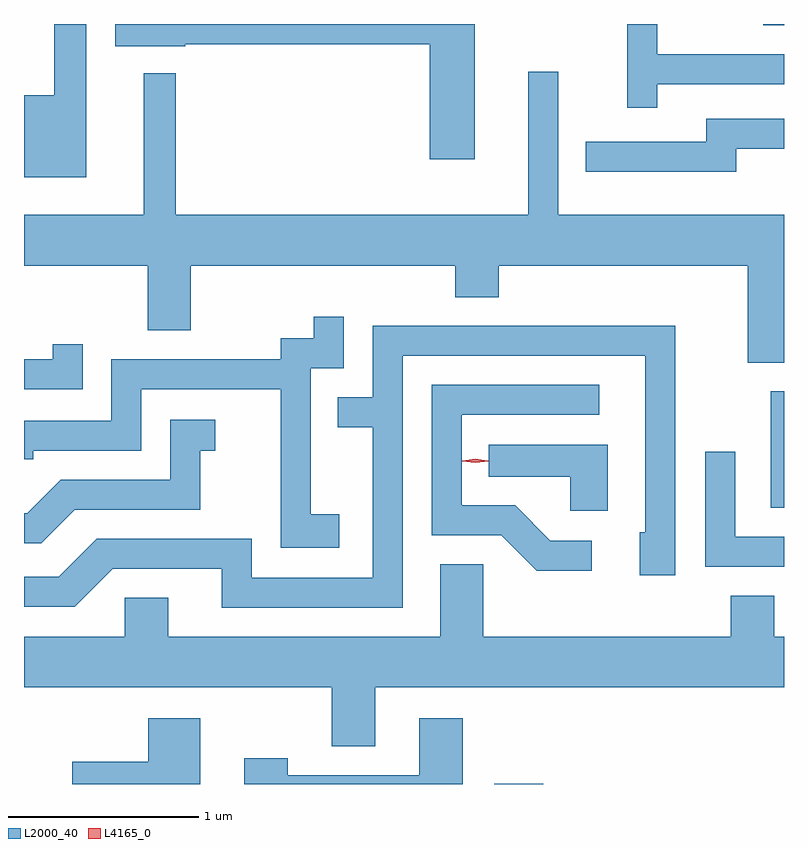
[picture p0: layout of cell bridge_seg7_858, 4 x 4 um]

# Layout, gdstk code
import gdstk
lib = gdstk.Library(unit=1e-6, precision=1e-09)
def R(c, l, rs):  # rectangles x0, y0, x1, y1
    for r in rs: c.add(gdstk.rectangle(r[:2], r[2:], *l))
def P(c, l, *ps):  # polygons
    for p in ps: c.add(gdstk.Polygon(p, *l))
L2000_40 = (2000, 40)
L4165_0 = (4165, 0)

bridge_seg7_858 = lib.new_cell('bridge_seg7_858')
R(bridge_seg7_858, L2000_40, [(281.496,1693.828,281.754,1693.829), (282.951,1695.281,283.021,1695.894), (282.911,1697.821,283.021,1697.828)])
P(bridge_seg7_858, L2000_40, [(279.349,1697.828),(279.181,1697.828),(279.181,1697.454),(279.021,1697.454),(279.021,1697.021),(279.349,1697.021)],
  [(281.394,1697.828),(279.501,1697.828),(279.501,1697.711),(279.87,1697.711),(279.87,1697.721),(281.156,1697.721),(281.156,1697.116),(281.394,1697.116)],
  [(282.354,1697.511),(283.021,1697.511),(283.021,1697.669),(282.354,1697.669),(282.354,1697.828),(282.196,1697.828),(282.196,1697.388),(282.354,1697.388)],
  [(279.819,1697.568),(279.651,1697.568),(279.651,1696.824),(279.021,1696.824),(279.021,1696.556),(279.671,1696.556),(279.671,1696.216),(279.899,1696.216),(279.899,1696.556),(281.291,1696.556),(281.291,1696.391),(281.519,1696.391),(281.519,1696.556),(282.831,1696.556),(282.831,1696.046),(283.021,1696.046),(283.021,1696.824),(281.834,1696.824),(281.834,1697.578),(281.676,1697.578),(281.676,1696.824),(279.819,1696.824)],
  [(282.769,1697.171),(283.021,1697.171),(283.021,1697.329),(282.611,1697.329),(282.611,1697.209),(281.978,1697.209),(281.978,1697.051),(282.769,1697.051)],
  [(280.679,1695.249),(280.529,1695.249),(280.529,1696.016),(280.704,1696.016),(280.704,1696.288),(280.546,1696.288),(280.546,1696.174),(280.371,1696.174),(280.371,1696.064),(279.481,1696.064),(279.481,1695.739),(279.021,1695.739),(279.021,1695.536),(279.069,1695.536),(279.069,1695.581),(279.639,1695.581),(279.639,1695.906),(280.371,1695.906),(280.371,1695.071),(280.679,1695.071)],
  [(281.014,1696.081),(282.291,1696.081),(282.291,1695.154),(282.261,1695.154),(282.261,1694.926),(282.449,1694.926),(282.449,1696.239),(280.856,1696.239),(280.856,1695.864),(280.673,1695.864),(280.673,1695.706),(280.856,1695.706),(280.856,1694.914),(280.219,1694.914),(280.219,1695.119),(279.404,1695.119),(279.204,1694.919),(279.021,1694.919),(279.021,1694.761),(279.287,1694.761),(279.487,1694.961),(280.061,1694.961),(280.061,1694.756),(281.014,1694.756)],
  [(279.329,1696.143),(279.171,1696.143),(279.171,1696.064),(279.021,1696.064),(279.021,1695.906),(279.329,1695.906)],
  [(282.008,1695.109),(281.792,1695.109),(281.607,1695.294),(281.324,1695.294),(281.324,1695.771),(282.048,1695.771),(282.048,1695.929),(281.166,1695.929),(281.166,1695.136),(281.534,1695.136),(281.719,1694.951),(282.008,1694.951)],
  [(279.287,1695.271),(279.949,1695.271),(279.949,1695.581),(280.028,1695.581),(280.028,1695.744),(279.791,1695.744),(279.791,1695.429),(279.214,1695.429),(279.039,1695.254),(279.021,1695.254),(279.021,1695.096),(279.112,1695.096)],
  [(282.094,1695.614),(281.468,1695.614),(281.468,1695.446),(281.896,1695.446),(281.896,1695.266),(282.094,1695.266)],
  [(283.021,1695.129),(282.764,1695.129),(282.764,1695.578),(282.606,1695.578),(282.606,1694.971),(283.021,1694.971)],
  [(280.869,1694.336),(283.021,1694.336),(283.021,1694.604),(282.969,1694.604),(282.969,1694.819),(282.741,1694.819),(282.741,1694.604),(281.439,1694.604),(281.439,1694.984),(281.211,1694.984),(281.211,1694.604),(279.779,1694.604),(279.779,1694.809),(279.551,1694.809),(279.551,1694.604),(279.021,1694.604),(279.021,1694.336),(280.641,1694.336),(280.641,1694.026),(280.869,1694.026)],
  [(281.329,1694.174),(281.101,1694.174),(281.101,1693.874),(280.409,1693.874),(280.409,1693.964),(280.181,1693.964),(280.181,1693.828),(281.329,1693.828)],
  [(279.949,1694.174),(279.676,1694.174),(279.676,1693.944),(279.276,1693.944),(279.276,1693.828),(279.949,1693.828)])
P(bridge_seg7_858, L4165_0, [(281.396,1695.519),(281.33,1695.528),(281.329,1695.529),(281.33,1695.529),(281.396,1695.539),(281.462,1695.529),(281.463,1695.529),(281.462,1695.528)],
  [(281.396,1695.518),(281.327,1695.528),(281.327,1695.528),(281.327,1695.529),(281.396,1695.538),(281.466,1695.529),(281.466,1695.528),(281.466,1695.528)])

lib.write_gds('bridge_seg7_858.gds')
